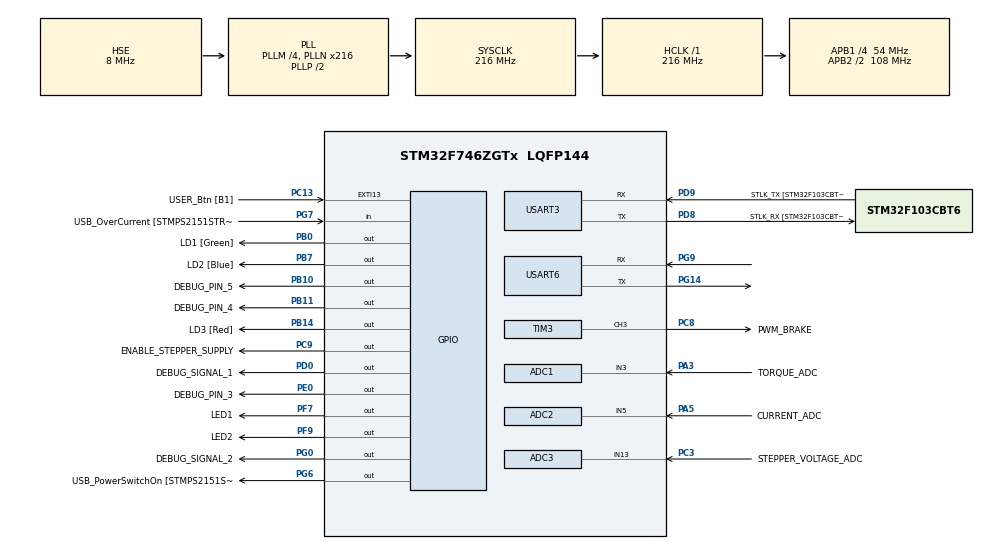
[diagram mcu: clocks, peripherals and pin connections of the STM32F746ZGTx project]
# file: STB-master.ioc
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ADC1.Channel-0\#ChannelRegularConversion=ADC_CHANNEL_3
ADC1.ContinuousConvMode=DISABLE
ADC1.DMAContinuousRequests=ENABLE
ADC1.ExternalTrigConv=ADC_EXTERNALTRIGCONV_T1_CC1
ADC1.NbrOfConversionFlag=1
ADC1.Rank-0\#ChannelRegularConversion=1
ADC1.SamplingTime-0\#ChannelRegularConversion=ADC_SAMPLETIME_480CYCLES
ADC1.ScanConvMode=ADC_SCAN_DISABLE
ADC1.master=1
ADC2.Channel-1\#ChannelRegularConversion=ADC_CHANNEL_5
ADC2.DMAContinuousRequests=ENABLE
ADC2.ExternalTrigConv=ADC_EXTERNALTRIGCONV_T1_CC2
ADC2.NbrOfConversionFlag=1
ADC2.Rank-1\#ChannelRegularConversion=1
ADC2.SamplingTime-1\#ChannelRegularConversion=ADC_SAMPLETIME_480CYCLES
ADC3.Channel-1\#ChannelRegularConversion=ADC_CHANNEL_13
ADC3.DMAContinuousRequests=ENABLE
ADC3.ExternalTrigConv=ADC_EXTERNALTRIGCONV_T1_CC3
ADC3.NbrOfConversion=1
ADC3.NbrOfConversionFlag=1
ADC3.Rank-1\#ChannelRegularConversion=1
ADC3.SamplingTime-1\#ChannelRegularConversion=ADC_SAMPLETIME_480CYCLES
Dma.ADC1.0.Direction=DMA_PERIPH_TO_MEMORY
Dma.ADC1.0.FIFOMode=DMA_FIFOMODE_DISABLE
Dma.ADC1.0.Instance=DMA2_Stream0
Dma.ADC1.0.MemDataAlignment=DMA_MDATAALIGN_HALFWORD
Dma.ADC1.0.MemInc=DMA_MINC_ENABLE
Dma.ADC1.0.Mode=DMA_CIRCULAR
Dma.ADC1.0.PeriphDataAlignment=DMA_PDATAALIGN_HALFWORD
Dma.ADC1.0.PeriphInc=DMA_PINC_DISABLE
Dma.ADC1.0.Priority=DMA_PRIORITY_LOW
Dma.ADC2.1.Direction=DMA_PERIPH_TO_MEMORY
Dma.ADC2.1.FIFOMode=DMA_FIFOMODE_DISABLE
Dma.ADC2.1.Instance=DMA2_Stream2
Dma.ADC2.1.MemDataAlignment=DMA_MDATAALIGN_HALFWORD
Dma.ADC2.1.MemInc=DMA_MINC_ENABLE
Dma.ADC2.1.Mode=DMA_CIRCULAR
Dma.ADC2.1.PeriphDataAlignment=DMA_PDATAALIGN_HALFWORD
Dma.ADC2.1.PeriphInc=DMA_PINC_DISABLE
Dma.ADC2.1.Priority=DMA_PRIORITY_LOW
Dma.ADC3.2.Direction=DMA_PERIPH_TO_MEMORY
Dma.ADC3.2.FIFOMode=DMA_FIFOMODE_DISABLE
Dma.ADC3.2.Instance=DMA2_Stream1
Dma.ADC3.2.MemDataAlignment=DMA_MDATAALIGN_HALFWORD
Dma.ADC3.2.MemInc=DMA_MINC_ENABLE
Dma.ADC3.2.Mode=DMA_CIRCULAR
Dma.ADC3.2.PeriphDataAlignment=DMA_PDATAALIGN_HALFWORD
Dma.ADC3.2.PeriphInc=DMA_PINC_DISABLE
Dma.ADC3.2.Priority=DMA_PRIORITY_LOW
Dma.Request0=ADC1
Dma.Request1=ADC2
Dma.Request2=ADC3
Mcu.Family=STM32F7
Mcu.Name=STM32F746ZGTx
Mcu.Package=LQFP144
NVIC.ADC_IRQn=true\:0\:0\:false\:false\:true\:true\:true\:true
NVIC.DMA2_Stream0_IRQn=true\:0\:0\:false\:false\:true\:false\:true\:true
NVIC.DMA2_Stream1_IRQn=true\:0\:0\:false\:false\:true\:false\:true\:true
NVIC.DMA2_Stream2_IRQn=true\:0\:0\:false\:false\:true\:false\:true\:true
NVIC.PriorityGroup=NVIC_PRIORITYGROUP_4
NVIC.TIM1_BRK_TIM9_IRQn=true\:0\:0\:false\:false\:true\:true\:true\:true
NVIC.TIM1_CC_IRQn=true\:0\:0\:false\:false\:true\:true\:true\:true
NVIC.TIM1_TRG_COM_TIM11_IRQn=true\:0\:0\:false\:false\:true\:true\:true\:true
NVIC.TIM1_UP_TIM10_IRQn=true\:0\:0\:false\:false\:true\:true\:true\:true
NVIC.TIM2_IRQn=true\:0\:0\:false\:false\:true\:true\:true\:true
NVIC.TIM3_IRQn=true\:0\:0\:false\:false\:true\:true\:true\:true
NVIC.TIM6_DAC_IRQn=true\:0\:0\:false\:false\:true\:true\:true\:true
NVIC.USART3_IRQn=true\:0\:0\:false\:false\:true\:true\:true\:true
NVIC.USART6_IRQn=true\:0\:0\:false\:false\:true\:true\:true\:true
PA13.GPIO_Label=TMS
PA13.Mode=Serial_Wire
PA13.Signal=SYS_JTMS-SWDIO
PA14.GPIO_Label=TCK
PA14.Mode=Serial_Wire
PA14.Signal=SYS_JTCK-SWCLK
PA3.GPIO_Label=TORQUE_ADC
PA3.Signal=ADCx_IN3
PA5.GPIO_Label=CURRENT_ADC
PA5.Signal=ADCx_IN5
PB0.GPIO_Label=LD1 [Green]
PB0.Signal=GPIO_Output
PB10.GPIO_Label=DEBUG_PIN_5
PB10.Signal=GPIO_Output
PB11.GPIO_Label=DEBUG_PIN_4
PB11.Signal=GPIO_Output
PB14.GPIO_Label=LD3 [Red]
PB14.Signal=GPIO_Output
PB3.GPIO_Label=SW0
PB3.Signal=SYS_JTDO-SWO
PB7.GPIO_Label=LD2 [Blue]
PB7.Signal=GPIO_Output
PC13.GPIO_Label=USER_Btn [B1]
PC13.Signal=GPXTI13
PC14/OSC32_IN.Mode=LSE-External-Oscillator
PC14/OSC32_IN.Signal=RCC_OSC32_IN
PC15/OSC32_OUT.Mode=LSE-External-Oscillator
PC15/OSC32_OUT.Signal=RCC_OSC32_OUT
PC3.GPIO_Label=STEPPER_VOLTAGE_ADC
PC3.Signal=ADCx_IN13
PC8.GPIO_Label=PWM_BRAKE
PC8.Signal=S_TIM3_CH3
PC9.GPIO_Label=ENABLE_STEPPER_SUPPLY
PC9.Signal=GPIO_Output
PD0.GPIO_Label=DEBUG_SIGNAL_1
PD0.Signal=GPIO_Output
PD8.GPIO_Label=STLK_RX [STM32F103CBT6_PA3]
PD8.Mode=Asynchronous
PD8.Signal=USART3_TX
PD9.GPIO_Label=STLK_TX [STM32F103CBT6_PA2]
PD9.Mode=Asynchronous
PD9.Signal=USART3_RX
PE0.GPIO_Label=DEBUG_PIN_3
PE0.Signal=GPIO_Output
PF7.GPIO_Label=LED1
PF7.Signal=GPIO_Output
PF9.GPIO_Label=LED2
PF9.Signal=GPIO_Output
PG0.GPIO_Label=DEBUG_SIGNAL_2
PG0.Signal=GPIO_Output
PG14.Mode=Asynchronous
PG14.Signal=USART6_TX
PG6.GPIO_Label=USB_PowerSwitchOn [STMPS2151STR_EN]
PG6.Signal=GPIO_Output
PG7.GPIO_Label=USB_OverCurrent [STMPS2151STR_FAULT]
PG7.Signal=GPIO_Input
PG9.Mode=Asynchronous
PG9.Signal=USART6_RX
PH0/OSC_IN.GPIO_Label=MCO [STM32F103CBT6_PA8]
PH0/OSC_IN.Mode=HSE-External-Clock-Source
PH0/OSC_IN.Signal=RCC_OSC_IN
PH1/OSC_OUT.Mode=HSE-External-Clock-Source
PH1/OSC_OUT.Signal=RCC_OSC_OUT
ProjectManager.HeapSize=0x200
ProjectManager.StackSize=0x400
ProjectManager.TargetToolchain=Makefile
RCC.48MHZClocksFreq_Value=24000000
RCC.AHBFreq_Value=216000000
RCC.APB1CLKDivider=RCC_HCLK_DIV4
RCC.APB1Freq_Value=54000000
RCC.APB1TimFreq_Value=108000000
RCC.APB2CLKDivider=RCC_HCLK_DIV2
RCC.APB2Freq_Value=108000000
RCC.APB2TimFreq_Value=216000000
RCC.CortexFreq_Value=216000000
RCC.HCLKFreq_Value=216000000
RCC.HSE_VALUE=8000000
RCC.HSI_VALUE=16000000
RCC.PLLM=4
RCC.PLLMUL=RCC_PLL_MUL9
RCC.PLLN=216
RCC.PLLQ=9
RCC.PLLSourceVirtual=RCC_PLLSOURCE_HSE
RCC.PRESCALERUSB=RCC_USBCLKSOURCE_PLL_DIV1_5
RCC.SYSCLKFreq_VALUE=216000000
RCC.SYSCLKSource=RCC_SYSCLKSOURCE_PLLCLK
RCC.SYSCLKSourceVirtual=RCC_SYSCLKSOURCE_PLLCLK
RCC.USBFreq_Value=48000000
RCC.VCOOutputFreq_Value=432000000
SH.ADCx_IN13.0=ADC3_IN13,IN13
SH.ADCx_IN3.0=ADC1_IN3,IN3
SH.ADCx_IN5.0=ADC2_IN5,IN5
SH.S_TIM3_CH3.0=TIM3_CH3,PWM Generation3 CH3
TIM1.Channel-PWM\ Generation1\ No\ Output=TIM_CHANNEL_1
TIM1.Channel-PWM\ Generation2\ No\ Output=TIM_CHANNEL_2
TIM1.Channel-PWM\ Generation3\ No\ Output=TIM_CHANNEL_3
TIM1.Period=100 -1 
TIM1.Prescaler=10800 - 1
TIM1.Pulse-PWM\ Generation1\ No\ Output=100 - 1
TIM1.Pulse-PWM\ Generation2\ No\ Output=100 - 1
TIM1.Pulse-PWM\ Generation3\ No\ Output=100 - 1
TIM1.TIM_MasterOutputTrigger=TIM_TRGO_UPDATE
TIM1.TIM_MasterSlaveMode=TIM_MASTERSLAVEMODE_ENABLE
TIM2.Channel-Output\ Compare1\ No\ Output=TIM_CHANNEL_1
TIM2.Prescaler=5400 - 1
TIM3.Channel-PWM\ Generation3\ CH3=TIM_CHANNEL_3
TIM3.Period=50 
TIM3.Prescaler=108 - 1
TIM3.Pulse-PWM\ Generation3\ CH3=50
TIM6.Prescaler=53600 - 1
USART3.VirtualMode-Asynchronous=VM_ASYNC
USART6.VirtualMode-Asynchronous=VM_ASYNC
VP_TIM1_VS_ClockSourceINT.Mode=Internal
VP_TIM1_VS_ClockSourceITR.Mode=TriggerSource_ITR0
VP_TIM1_VS_no_output1.Mode=PWM Generation1 No Output
VP_TIM1_VS_no_output2.Mode=PWM Generation2 No Output
VP_TIM1_VS_no_output3.Mode=PWM Generation3 No Output
VP_TIM2_VS_ClockSourceINT.Mode=Internal
VP_TIM2_VS_no_output1.Mode=Output Compare1 No Output
VP_TIM6_VS_ClockSourceINT.Mode=Enable_Timer
board=NUCLEO-F746ZG

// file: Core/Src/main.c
/* USER CODE BEGIN Header */
/**
  ******************************************************************************
  * @file           : main.c
  * @brief          : Main program body
  ******************************************************************************
  * @attention
  *
  * Copyright (c) 2022 STMicroelectronics.
  * All rights reserved.
  *
  * This software is licensed under terms that can be found in the LICENSE file
  * in the root directory of this software component.
  * If no LICENSE file comes with this software, it is provided AS-IS.
  *
  ******************************************************************************
  */
/* USER CODE END Header */
#include "main.h"

#include "adc.h"
#include "dma.h"
#include "gpio.h"
#include "tim.h"
#include "usart.h"

/* USER CODE BEGIN Includes */
#include "brake.h"
#include "pwm.h"
#include "slave_cmd_utils.h"
#include "timer_utils.h"

#include <stdbool.h>
#include <stdio.h>
#include <stdlib.h>
#include <string.h>
/* USER CODE END Includes */

/* USER CODE BEGIN PD */
#define ACQUISITION_TIME_DIGITS  2
#define CMD_PAYLOAD_LENGHT       100
#define MAX_CMD_SEND_ATTEMPTS    100
#define MAX_ACK_DELAY_ALLOWED_MS 20
#define CMD_CLOSING_CHAR         '\n'
/* USER CODE END PD */

/* USER CODE BEGIN PV */
typedef struct {
    bool is_word_complete;
    char cmd_received[CMD_PAYLOAD_LENGHT];
    char last_char_received;
    uint8_t char_index;
} uart_rx_handler;

uart_rx_handler gui_cmd_handler;
uart_rx_handler slave_cmd_handler;

typedef enum {
    INIT = 0U,
    WAITING_FOR_CMD,
    CMD_RECEIVED,
    SEND_START_MOTOR_CMD,
    GET_MOTOR_ACK_ON_START,
    MOTOR_IS_RUNNING,
    SENSORS_READING,
    ASYNC_SENSOR_READING,
    SEND_STOP_MOTOR_CMD,
    GET_MOTOR_ACK_ON_STOP,
    MOTOR_IS_STOPPED
} master_state;

typedef struct {
    master_state current_state;
    master_state next_state;
    bool go_to_next_state;
} master_state_machine;

master_state_machine msm_handler;

typedef struct {
    bool is_powered;
} stepper_handler;

stepper_handler stepper;
uint8_t sendings_attempts_done = 0;
uint32_t current_tick          = 0;
uint32_t deadline              = 0;
uint8_t gui_acquisition_time   = 0;
char gui_acquisition_time_str[ACQUISITION_TIME_DIGITS];
float brake_single_step_period = 0.0;
bool is_brake_at_max_value     = false;
bool do_async_sensor_reading   = false;
// ADC variables
volatile float torque_gpio;
volatile float board_voltage;
volatile float stepper_current;
char adc_out[100];

//bool is_sampling = false;
/* USER CODE END PV */

void SystemClock_Config(void);
/* USER CODE BEGIN PFP */
void set_and_go_to_next_state(master_state next_state);
bool parse_gui_cmd(char *cmd_rx);
void reset_cmd(uart_rx_handler *uart_handler);
void update_sensor_values();
void update_sensor_values_and_print();
/* USER CODE END PFP */

int main(void) {

    /* MCU Configuration--------------------------------------------------------*/

    /* Reset of all peripherals, Initializes the Flash interface and the Systick. */
    HAL_Init();

    /* Configure the system clock */
    SystemClock_Config();

    /* Initialize all configured peripherals */
    MX_GPIO_Init();
    MX_DMA_Init();
    MX_ADC1_Init();
    MX_ADC2_Init();
    MX_ADC3_Init();
    MX_TIM1_Init();
    MX_TIM3_Init();
    MX_USART3_UART_Init();
    MX_USART6_UART_Init();
    MX_TIM2_Init();
    MX_TIM6_Init();
    /* USER CODE BEGIN 2 */
    HAL_GPIO_WritePin(DEBUG_SIGNAL_1_GPIO_Port, DEBUG_SIGNAL_1_Pin, GPIO_PIN_RESET);
    HAL_GPIO_WritePin(DEBUG_SIGNAL_2_GPIO_Port, DEBUG_SIGNAL_2_Pin, GPIO_PIN_RESET);
    HAL_GPIO_WritePin(ENABLE_STEPPER_SUPPLY_GPIO_Port, ENABLE_STEPPER_SUPPLY_Pin, GPIO_PIN_SET);
    // INIT PHASE
    msm_handler.current_state    = INIT;
    msm_handler.next_state       = WAITING_FOR_CMD;
    msm_handler.go_to_next_state = true;
    reset_cmd(&gui_cmd_handler);
    reset_cmd(&slave_cmd_handler);
    stepper.is_powered = false;

    uint32_t sensor_time = 5000;

    //HAL_GPIO_WritePin(ENABLE_STEPPER_SUPPLY_GPIO_Port, ENABLE_STEPPER_SUPPLY_Pin, GPIO_PIN_RESET);
    memset(adc_out, 0x00, sizeof(adc_out));

    brake_init(&magnetic_brake);
    brake_set_pwm_duty_cycle(&magnetic_brake, 0.0);
    brake_on(&magnetic_brake);

    ADC_start_DMA_readings();

    for (int i = 0; i < 10; i++) {
        measured_zero_current_value = ADC_get_current_to_gpio_level();
        measured_zero_torque_value  = ADC_get_torque_to_gpio_level();
    }
    /* USER CODE END 2 */

    /* Infinite loop */
    /* USER CODE BEGIN WHILE */
    while (1) {
        // while (1) {
        // while (1) {
        //     HAL_UART_Receive_IT(&UART_USB, (uint8_t *)&gui_cmd_handler.last_char_received, 1);
        //     if (gui_cmd_handler.is_word_complete) {
        //         parse_gui_cmd(gui_cmd_handler.cmd_received);
        //         reset_cmd(&gui_cmd_handler);
        //     }
        //     if (is_sampling) {
        //         brake_single_step_period = gui_acquisition_time / TOTAL_PWM_BRAKE_STEPS;
        //         brake_set_pwm_duty_cycle(&magnetic_brake, 0.0);
        //         brake_set_and_start_step_timer((uint32_t)brake_single_step_period * 1000);
        //         is_sampling = false;
        //     }
        //     if (magnetic_brake.is_top_limit_reached) {
        //         brake_stop_step_timer();
        //         magnetic_brake.is_top_limit_reached = false;
        //     }
        // }
        //     // update_sensor_values_and_print();
        //     // HAL_Delay(100);
        // }
        /* USER CODE END WHILE */

        /* USER CODE BEGIN 3 */
        // while (1) {
        //     HAL_UART_Receive_IT(&UART_USB, (uint8_t *)&gui_cmd_handler.last_char_received, 1);
        //     if (gui_cmd_handler.is_word_complete) {
        //         parse_gui_cmd(gui_cmd_handler.cmd_received);
        //         reset_cmd(&gui_cmd_handler);
        //     }
        //     if (is_sampling) {
        //         brake_single_step_period = gui_acquisition_time / TOTAL_PWM_BRAKE_STEPS;
        //         brake_set_pwm_duty_cycle(&magnetic_brake, 0.0);
        //         brake_set_and_start_step_timer((uint32_t)brake_single_step_period * 1000);
        //         is_sampling = false;
        //     }
        //     if (magnetic_brake.is_top_limit_reached) {
        //         brake_stop_step_timer();
        //         magnetic_brake.is_top_limit_reached = false;
        //     }
        // }
        //     // update_sensor_values_and_print();
        //     // HAL_Delay(100);
        // }
        /* USER CODE END WHILE */
        if (msm_handler.go_to_next_state) {
            msm_handler.current_state = msm_handler.next_state;
        }
        switch (msm_handler.current_state) {
            case INIT:
                HAL_NVIC_SystemReset();
                break;
            case WAITING_FOR_CMD:
                HAL_GPIO_WritePin(DEBUG_SIGNAL_1_GPIO_Port, DEBUG_SIGNAL_1_Pin, GPIO_PIN_RESET);
                HAL_GPIO_WritePin(DEBUG_SIGNAL_2_GPIO_Port, DEBUG_SIGNAL_2_Pin, GPIO_PIN_SET);
                // Continuous receiving
                HAL_UART_Receive_IT(&UART_USB, (uint8_t *)&gui_cmd_handler.last_char_received, sizeof(char));
                if (gui_cmd_handler.is_word_complete) {
                    set_and_go_to_next_state(CMD_RECEIVED);
                }
                break;
            case CMD_RECEIVED:
                HAL_GPIO_WritePin(DEBUG_SIGNAL_2_GPIO_Port, DEBUG_SIGNAL_2_Pin, GPIO_PIN_SET);
                HAL_GPIO_WritePin(DEBUG_SIGNAL_1_GPIO_Port, DEBUG_SIGNAL_1_Pin, GPIO_PIN_SET);
                if (parse_gui_cmd(gui_cmd_handler.cmd_received)) {
                    HAL_GPIO_WritePin(DEBUG_SIGNAL_2_GPIO_Port, DEBUG_SIGNAL_2_Pin, GPIO_PIN_RESET);
                    if (strstr(gui_cmd_handler.cmd_received, "start_motor+")) {
                        // IDEALLY THE MOTOR RUNS FOREVER
                        set_and_go_to_next_state(SEND_START_MOTOR_CMD);
                    } else if (strcmp(gui_cmd_handler.cmd_received, "get_acquired_data_chunks\r") == 0) {
                        set_and_go_to_next_state(ASYNC_SENSOR_READING);
                    }
                } else {
                    set_and_go_to_next_state(WAITING_FOR_CMD);
                }
                HAL_GPIO_WritePin(DEBUG_SIGNAL_2_GPIO_Port, DEBUG_SIGNAL_2_Pin, GPIO_PIN_RESET);
                HAL_GPIO_WritePin(DEBUG_SIGNAL_1_GPIO_Port, DEBUG_SIGNAL_1_Pin, GPIO_PIN_RESET);
                reset_cmd(&gui_cmd_handler);
                break;
            case ASYNC_SENSOR_READING:
                reset_cmd(&gui_cmd_handler);
                // Continuous receiving and sensor reading
                for (uint8_t i = 0; i < 7; i++) {
                    update_sensor_values_and_print();
                }
                set_and_go_to_next_state(WAITING_FOR_CMD);
                break;
            case SEND_START_MOTOR_CMD:
                HAL_GPIO_WritePin(DEBUG_SIGNAL_2_GPIO_Port, DEBUG_SIGNAL_2_Pin, GPIO_PIN_RESET);
                HAL_GPIO_WritePin(DEBUG_SIGNAL_1_GPIO_Port, DEBUG_SIGNAL_1_Pin, GPIO_PIN_SET);
                if (sendings_attempts_done < MAX_CMD_SEND_ATTEMPTS) {
                    HAL_UART_Transmit(&UART_SLAVE, (uint8_t *)"fw+999999\r\n", sizeof("fw+999999\r\n"), 100);
                    HAL_GPIO_WritePin(DEBUG_SIGNAL_1_GPIO_Port, DEBUG_SIGNAL_1_Pin, GPIO_PIN_RESET);
                    reset_cmd(&slave_cmd_handler);
                    sendings_attempts_done++;
                    set_and_go_to_next_state(GET_MOTOR_ACK_ON_START);
                } else {
                    set_and_go_to_next_state(WAITING_FOR_CMD);
                    sendings_attempts_done = 0;
                }
                break;
            case GET_MOTOR_ACK_ON_START:
                current_tick = HAL_GetTick();
                deadline     = current_tick + MAX_ACK_DELAY_ALLOWED_MS;
                HAL_GPIO_WritePin(DEBUG_SIGNAL_2_GPIO_Port, DEBUG_SIGNAL_2_Pin, GPIO_PIN_SET);
                while (current_tick < deadline) {
                    // set zerto torque value
                    //measured_zero_torque_value = ADC_get_torque_to_gpio_level()*;

                    HAL_UART_Receive_IT(&UART_SLAVE, (uint8_t *)&slave_cmd_handler.last_char_received, sizeof(char));
                    if (slave_cmd_handler.is_word_complete &&
                        strcmp(slave_cmd_handler.cmd_received, "start_ack\r\n") == 0) {
                        reset_cmd(&slave_cmd_handler);
                        reset_cmd(&gui_cmd_handler);
                        set_and_go_to_next_state(MOTOR_IS_RUNNING);
                        HAL_GPIO_WritePin(DEBUG_SIGNAL_2_GPIO_Port, DEBUG_SIGNAL_2_Pin, GPIO_PIN_RESET);
                        current_tick = deadline;
                    } else {
                        current_tick = HAL_GetTick();
                    }
                }
                // If timeout has elapsed
                if (msm_handler.next_state == GET_MOTOR_ACK_ON_START) {
                    set_and_go_to_next_state(SEND_START_MOTOR_CMD);
                }
                break;
            case MOTOR_IS_RUNNING:
                // do stuffs
                set_and_go_to_next_state(SENSORS_READING);
                current_tick = HAL_GetTick();
                // update deadline to acquired time from gui (s) * 1000 in order to obtain ms
                deadline                 = current_tick + gui_acquisition_time * 1000;  // sensor_time;
                brake_single_step_period = ((float)gui_acquisition_time) / TOTAL_PWM_BRAKE_STEPS;
                brake_set_pwm_duty_cycle(&magnetic_brake, 0.0);
                brake_set_and_start_step_timer((uint32_t)(brake_single_step_period * 1000));
                break;

            case SENSORS_READING:
                while (!magnetic_brake.is_top_limit_reached) {
                    update_sensor_values_and_print();
                }
                brake_stop_step_timer();
                brake_set_pwm_duty_cycle(&magnetic_brake, 0.0);
                magnetic_brake.is_top_limit_reached = false;

                // while (current_tick < deadline) {
                //     update_sensor_values_and_print();
                //     current_tick = HAL_GetTick();
                // }
                // do stuffs
                set_and_go_to_next_state(SEND_STOP_MOTOR_CMD);
                break;
            case SEND_STOP_MOTOR_CMD:
                HAL_GPIO_WritePin(DEBUG_SIGNAL_2_GPIO_Port, DEBUG_SIGNAL_2_Pin, GPIO_PIN_RESET);
                HAL_GPIO_WritePin(DEBUG_SIGNAL_1_GPIO_Port, DEBUG_SIGNAL_1_Pin, GPIO_PIN_SET);
                if (sendings_attempts_done < MAX_CMD_SEND_ATTEMPTS) {
                    HAL_UART_Transmit(&UART_SLAVE, (uint8_t *)MOTOR_STOP_FOREVER, sizeof(MOTOR_STOP_FOREVER), 100);
                    HAL_GPIO_WritePin(DEBUG_SIGNAL_1_GPIO_Port, DEBUG_SIGNAL_1_Pin, GPIO_PIN_RESET);
                    reset_cmd(&slave_cmd_handler);
                    sendings_attempts_done++;
                    set_and_go_to_next_state(GET_MOTOR_ACK_ON_STOP);
                } else {
                    set_and_go_to_next_state(WAITING_FOR_CMD);
                }
                break;
            case GET_MOTOR_ACK_ON_STOP:

                current_tick = HAL_GetTick();
                deadline     = current_tick + MAX_ACK_DELAY_ALLOWED_MS;
                HAL_GPIO_WritePin(DEBUG_SIGNAL_2_GPIO_Port, DEBUG_SIGNAL_2_Pin, GPIO_PIN_SET);
                while (current_tick < deadline) {
                    HAL_UART_Receive_IT(&UART_SLAVE, (uint8_t *)&slave_cmd_handler.last_char_received, sizeof(char));
                    if (slave_cmd_handler.is_word_complete &&
                        strcmp(slave_cmd_handler.cmd_received, "stop_ack\r\n") == 0) {
                        reset_cmd(&slave_cmd_handler);
                        reset_cmd(&gui_cmd_handler);
                        set_and_go_to_next_state(MOTOR_IS_STOPPED);
                        HAL_GPIO_WritePin(DEBUG_SIGNAL_2_GPIO_Port, DEBUG_SIGNAL_2_Pin, GPIO_PIN_RESET);
                        current_tick = deadline;
                    } else {
                        current_tick = HAL_GetTick();
                    }
                }
                // If timeout has elapsed
                if (msm_handler.next_state == GET_MOTOR_ACK_ON_STOP) {
                    set_and_go_to_next_state(SEND_STOP_MOTOR_CMD);
                }
                break;
            case MOTOR_IS_STOPPED:
                //turn off transistor
                HAL_Delay(2000);
                set_and_go_to_next_state(WAITING_FOR_CMD);
                break;
        }
    }
    /* USER CODE END 3 */
}

void SystemClock_Config(void) {
    RCC_OscInitTypeDef RCC_OscInitStruct = {0};
    RCC_ClkInitTypeDef RCC_ClkInitStruct = {0};

    /** Configure LSE Drive Capability
  */
    HAL_PWR_EnableBkUpAccess();

    /** Configure the main internal regulator output voltage
  */
    __HAL_RCC_PWR_CLK_ENABLE();
    __HAL_PWR_VOLTAGESCALING_CONFIG(PWR_REGULATOR_VOLTAGE_SCALE1);

    /** Initializes the RCC Oscillators according to the specified parameters
  * in the RCC_OscInitTypeDef structure.
  */
    RCC_OscInitStruct.OscillatorType = RCC_OSCILLATORTYPE_HSE;
    RCC_OscInitStruct.HSEState       = RCC_HSE_BYPASS;
    RCC_OscInitStruct.PLL.PLLState   = RCC_PLL_ON;
    RCC_OscInitStruct.PLL.PLLSource  = RCC_PLLSOURCE_HSE;
    RCC_OscInitStruct.PLL.PLLM       = 4;
    RCC_OscInitStruct.PLL.PLLN       = 216;
    RCC_OscInitStruct.PLL.PLLP       = RCC_PLLP_DIV2;
    RCC_OscInitStruct.PLL.PLLQ       = 9;
    if (HAL_RCC_OscConfig(&RCC_OscInitStruct) != HAL_OK) {
        Error_Handler();
    }

    /** Activate the Over-Drive mode
  */
    if (HAL_PWREx_EnableOverDrive() != HAL_OK) {
        Error_Handler();
    }

    /** Initializes the CPU, AHB and APB buses clocks
  */
    RCC_ClkInitStruct.ClockType = RCC_CLOCKTYPE_HCLK | RCC_CLOCKTYPE_SYSCLK | RCC_CLOCKTYPE_PCLK1 | RCC_CLOCKTYPE_PCLK2;
    RCC_ClkInitStruct.SYSCLKSource   = RCC_SYSCLKSOURCE_PLLCLK;
    RCC_ClkInitStruct.AHBCLKDivider  = RCC_SYSCLK_DIV1;
    RCC_ClkInitStruct.APB1CLKDivider = RCC_HCLK_DIV4;
    RCC_ClkInitStruct.APB2CLKDivider = RCC_HCLK_DIV2;

    if (HAL_RCC_ClockConfig(&RCC_ClkInitStruct, FLASH_LATENCY_7) != HAL_OK) {
        Error_Handler();
    }
}

/* USER CODE BEGIN 4 */
void HAL_UART_RxCpltCallback(UART_HandleTypeDef *huart) {
    if (huart->Instance == UART_USB.Instance) {
        gui_cmd_handler.cmd_received[gui_cmd_handler.char_index] = gui_cmd_handler.last_char_received;
        gui_cmd_handler.char_index++;
        if (gui_cmd_handler.last_char_received == '\r') {
            gui_cmd_handler.is_word_complete = true;
        }
    } else if (huart->Instance == UART_SLAVE.Instance) {
        slave_cmd_handler.cmd_received[slave_cmd_handler.char_index] = slave_cmd_handler.last_char_received;
        slave_cmd_handler.char_index++;
        if (slave_cmd_handler.last_char_received == '\n') {
            slave_cmd_handler.is_word_complete = true;
        }
    }
}

void set_and_go_to_next_state(master_state next_state) {
    msm_handler.next_state       = next_state;
    msm_handler.go_to_next_state = true;
}

void reset_cmd(uart_rx_handler *uart_handler) {
    uart_handler->char_index = 0;
    memset(uart_handler->cmd_received, 0x0, sizeof(uart_handler->cmd_received));
    uart_handler->is_word_complete = false;
}
void send_brake_value_to_gui() {
    char gui_output[15];
    uint8_t len = 0;
    memset(gui_output, 0x00, sizeof(gui_output));
    len = sprintf(gui_output, "PWM+%.2f\r\n", magnetic_brake.pwm_duty_cycle);
    HAL_UART_Transmit(&UART_USB, (uint8_t *)gui_output, len, 100);
}
bool parse_gui_cmd(char *cmd_rx) {
    bool cmd_is_valid = true;
    if (strcmp(cmd_rx, "brake+\r") == 0) {
        if (!magnetic_brake.is_braking) {
            brake_on(&magnetic_brake);
        }
        brake_increase_duty(&magnetic_brake, BRAKE_STEP);
        send_brake_value_to_gui();
    } else if (strcmp(cmd_rx, "brake-\r") == 0) {
        if (!magnetic_brake.is_braking) {
            brake_on(&magnetic_brake);
        }
        brake_decrease_duty(&magnetic_brake, BRAKE_STEP);
        send_brake_value_to_gui();
    } else if (strcmp(cmd_rx, "brake_off\r") == 0) {
        brake_set_pwm_duty_cycle(&magnetic_brake, MIN_ALLOWED_PWM_DUTY);
        brake_off(&magnetic_brake);
        send_brake_value_to_gui();
    } else if (strcmp(cmd_rx, "brake_on_max\r") == 0) {
        brake_set_pwm_duty_cycle(&magnetic_brake, MAX_ALLOWED_PWM_DUTY);
        brake_on(&magnetic_brake);
        send_brake_value_to_gui();
    }
    // else if (strcmp(cmd_rx, "start_motor\r") == 0) {
    //     uint8_t x = 0;
    else if (strstr(cmd_rx, "start_motor+")) {
        // check whether the substring start_motor has been received
        strncpy(gui_acquisition_time_str, &cmd_rx[strlen("start_motor+")], ACQUISITION_TIME_DIGITS);
        gui_acquisition_time = atoi(gui_acquisition_time_str);
        uint8_t x            = 0;
        //is_sampling          = true;
    } else if (strcmp(cmd_rx, "get_acquired_data_chunks\r") == 0) {
        do_async_sensor_reading = true;
    }
    // else if (strcmp(cmd_rx, "stop_async_reading\r") == 0) {
    //     do_async_sensor_reading = false;
    // }
    else {
        cmd_is_valid = false;
    }
    return cmd_is_valid;
}

void HAL_GPIO_EXTI_Callback(uint16_t pin) {
    if (pin == USER_Btn_Pin) {
        (stepper.is_powered)
            ? HAL_GPIO_WritePin(ENABLE_STEPPER_SUPPLY_GPIO_Port, ENABLE_STEPPER_SUPPLY_Pin, GPIO_PIN_RESET)
            : HAL_GPIO_WritePin(ENABLE_STEPPER_SUPPLY_GPIO_Port, ENABLE_STEPPER_SUPPLY_Pin, GPIO_PIN_SET);
        stepper.is_powered = !stepper.is_powered;
    }
}

void update_sensor_values() {
    torque_gpio     = ADC_get_voltage_to_gpio_level();
    board_voltage   = ADC_get_voltage_converted();
    stepper_current = ADC_get_current_converted();
}

void update_sensor_values_and_print() {
    torque_gpio     = ADC_get_torque_converted();   // ADC_get_torque_to_gpio_level();
    board_voltage   = ADC_get_voltage_converted();  // ADC_get_voltage_to_gpio_level();
    stepper_current = ADC_get_current_converted();  // ADC_get_current_to_gpio_level();
#define MEASUREMENT_PRINT 1
#ifdef DEBUG_PRINT
    sprintf(
        adc_out, "Current: %.4f A | STB supply: %.4f V | Trq: %.4f \r\n", stepper_current, board_voltage, torque_gpio);
#endif
#ifdef MEASUREMENT_PRINT
    sprintf(
        adc_out,
        "[MASTER],%lu,%.4f, %.4f,%.4f, %.2f\r\n",
        HAL_GetTick() / 10,
        torque_gpio,
        board_voltage,
        stepper_current,
        magnetic_brake.pwm_duty_cycle * 100);
#endif
    HAL_UART_Transmit(&UART_USB, (uint8_t *)adc_out, sizeof(adc_out), 100);
}
/* USER CODE END 4 */

void Error_Handler(void) {
    __disable_irq();
    while (1) {
    }
}
